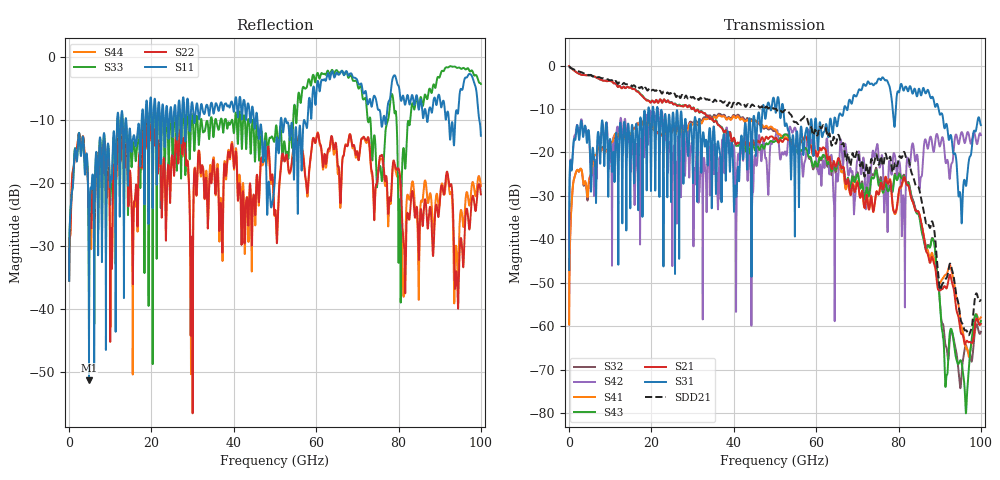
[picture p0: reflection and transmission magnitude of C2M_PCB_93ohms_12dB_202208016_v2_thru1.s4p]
! Info: Touchstone file created by Circ.  Input file=Intel_C2M_200G_2p5in_202208016_staggered.circ
# Hz S RI R 50
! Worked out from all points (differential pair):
!   10000 points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, 10 MHz to 100 GHz, reference 50 ohm
!   strongest paths, dB at 10 MHz, 25.01 GHz, 50.01 GHz, 75.01 GHz, 100 GHz:
!     S31: -47.0, -13.7, -9.6, -3.2, -13.7
!     S21: -0.1, -8.5, -16.9, -29.6, -59.4
!     S43: -0.1, -8.5, -17.4, -26.7, -58.8
!     S41: -59.5, -15.3, -14.7, -29.5, -57.9
!     S42: -47.0, -30.7, -16.7, -18.9, -16.0
!     S32: -59.5, -15.2, -15.0, -26.2, -61.3
!   taken as a pair (ports 1,3 in; 2,4 out), SDD21 dB: -0.1, -6.7, -9.9, -22.3, -53.8
!   lowest |S11| = -51.4 dB at 4.84 GHz (marker M1), VSWR 1.01, Z = 50.2 + j0.224 ohm
!   |S11| at or under -10 dB: start of sweep to 11.69 GHz; 45.74 GHz to 51.37 GHz (5.626 GHz wide, 11.6 % of centre); 52.67 GHz to 57.03 GHz (4.364 GHz wide, 7.96 % of centre)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
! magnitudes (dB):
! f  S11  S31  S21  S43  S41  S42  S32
! 10 MHz  -35.5  -47.0  -0.1  -0.1  -59.5  -47.0  -59.5
! 1.31 GHz  -15.2  -16.8  -1.2  -1.2  -25.7  -16.1  -25.7
! 4.84 GHz  -51.4  -15.5  -2.2  -2.2  -26.4  -16.2  -26.6
! 65.04 GHz  -2.4  -14.0  -22.5  -23.2  -23.0  -25.5  -23.7
! 80.44 GHz  -6.4  -4.7  -27.9  -25.4  -28.2  -24.0  -25.1
! 91.57 GHz  -9.7  -13.4  -51.3  -72.0  -48.0  -22.4  -64.7
! 100 GHz  -12.5  -13.7  -59.4  -58.8  -57.9  -16.0  -61.3
